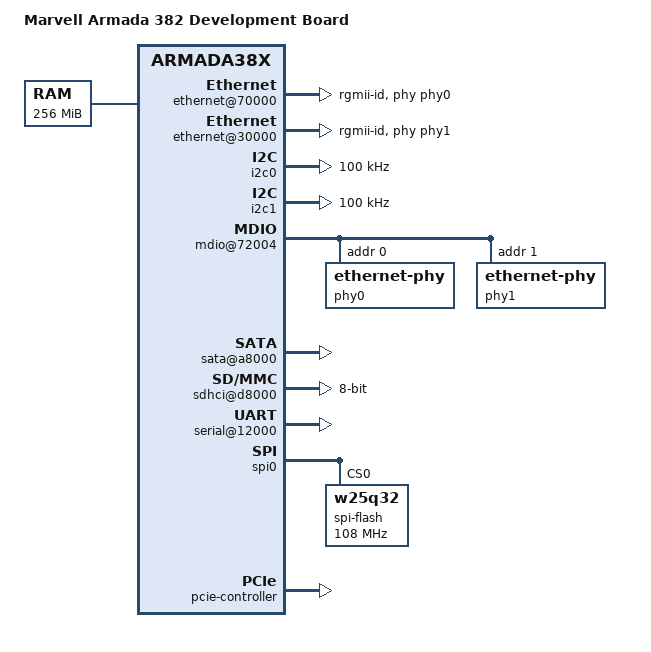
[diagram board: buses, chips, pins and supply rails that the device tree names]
/*
 * Device Tree file for Marvell Armada 382 Development Board Purpose board
 * (DB-88F6821-BP)
 *
 *  Copyright (C) 2014 Marvell
 *
 * Nadav Haklai <nadavh@marvell.com>
 *
 * This file is licensed under the terms of the GNU General Public
 * License version 2.  This program is licensed "as is" without any
 * warranty of any kind, whether express or implied.
 */

/dts-v1/;
#include "armada-380.dtsi"

/ {
	model = "Marvell Armada 382 Development Board";
	compatible = "marvell,a382-db", "marvell,armada382", "marvell,armada38x";

	chosen {
		bootargs = "console=ttyS0,115200 earlyprintk";
	};

	memory {
		device_type = "memory";
		reg = <0x00000000 0x10000000>; /* 256 MB */
	};

	soc {

		internal-regs {
			ethernet@70000 {
				status = "okay";
				phy = <&phy0>;
				phy-mode = "rgmii-id";
			};

			ethernet@30000 {
				status = "okay";
				phy = <&phy1>;
				phy-mode = "rgmii-id";
			};

			i2c0: i2c@11000 {
				status = "okay";
				clock-frequency = <100000>;
			};

			i2c1: i2c@11100 {
				status = "okay";
				clock-frequency = <100000>;
			};

			mdio@72004 {
				phy0: ethernet-phy@0 {
					reg = <0>;
				};

				phy1: ethernet-phy@1 {
					reg = <1>;
				};
			};

			sata@a8000 {
				status = "okay";
			};

			sdhci@d8000 {
				broken-cd;
				wp-inverted;
				bus-width = <8>;
				status = "okay";
			};

			serial@12000 {
				status = "okay";
			};

			spi0: spi@10600 {
				status = "okay";

				spi-flash@0 {
					#address-cells = <1>;
					#size-cells = <0>;
					compatible = "w25q32", "jedec,spi-nor";
					reg = <0>; /* Chip select 0 */
					spi-max-frequency = <108000000>;
				};
			};

			/*
			 * 1GB Flash via NFC NAND controller
			 * should be disabled when the board boots
			 * from SPI flash, since NFC shares the same
			 * pins with SPI0 and requires SLM-1358 jumper.
			 * However the u-boot DTB parser will
			 * handle this situation and disable/remove
			 * unnessesary devices according to board
			 * boot-up configuration.
			 */
			flash@d0000 {
				status = "okay";
				num-cs = <1>;
				marvell,nand-keep-config;
				marvell,nand-enable-arbiter;
				nand-on-flash-bbt;
				nand-ecc-strength = <4>;
				nand-ecc-step-size = <512>;

				partition@0 {
					label = "U-Boot";
					reg = <0x00000000 0x00600000>;
					read-only;
				};

				partition@600000 {
					label = "uImage";
					reg = <0x00600000 0x00400000>;
					read-only;
				};

				partition@a000000 {
					label = "Root";
					reg = <0x00a00000 0x3f600000>;
				};
			};

			crypto@9D000 {
				status = "okay";
			};
		};

		pcie-controller {
			status = "okay";
			/*
			 * The two PCIe units are accessible through
			 * standard PCIe slots on the board.
			 */
			pcie@1,0 {
				/* Port 0, Lane 0 */
				status = "okay";
			};
			pcie@2,0 {
				/* Port 1, Lane 0 */
				status = "okay";
			};
		};
	};
};
